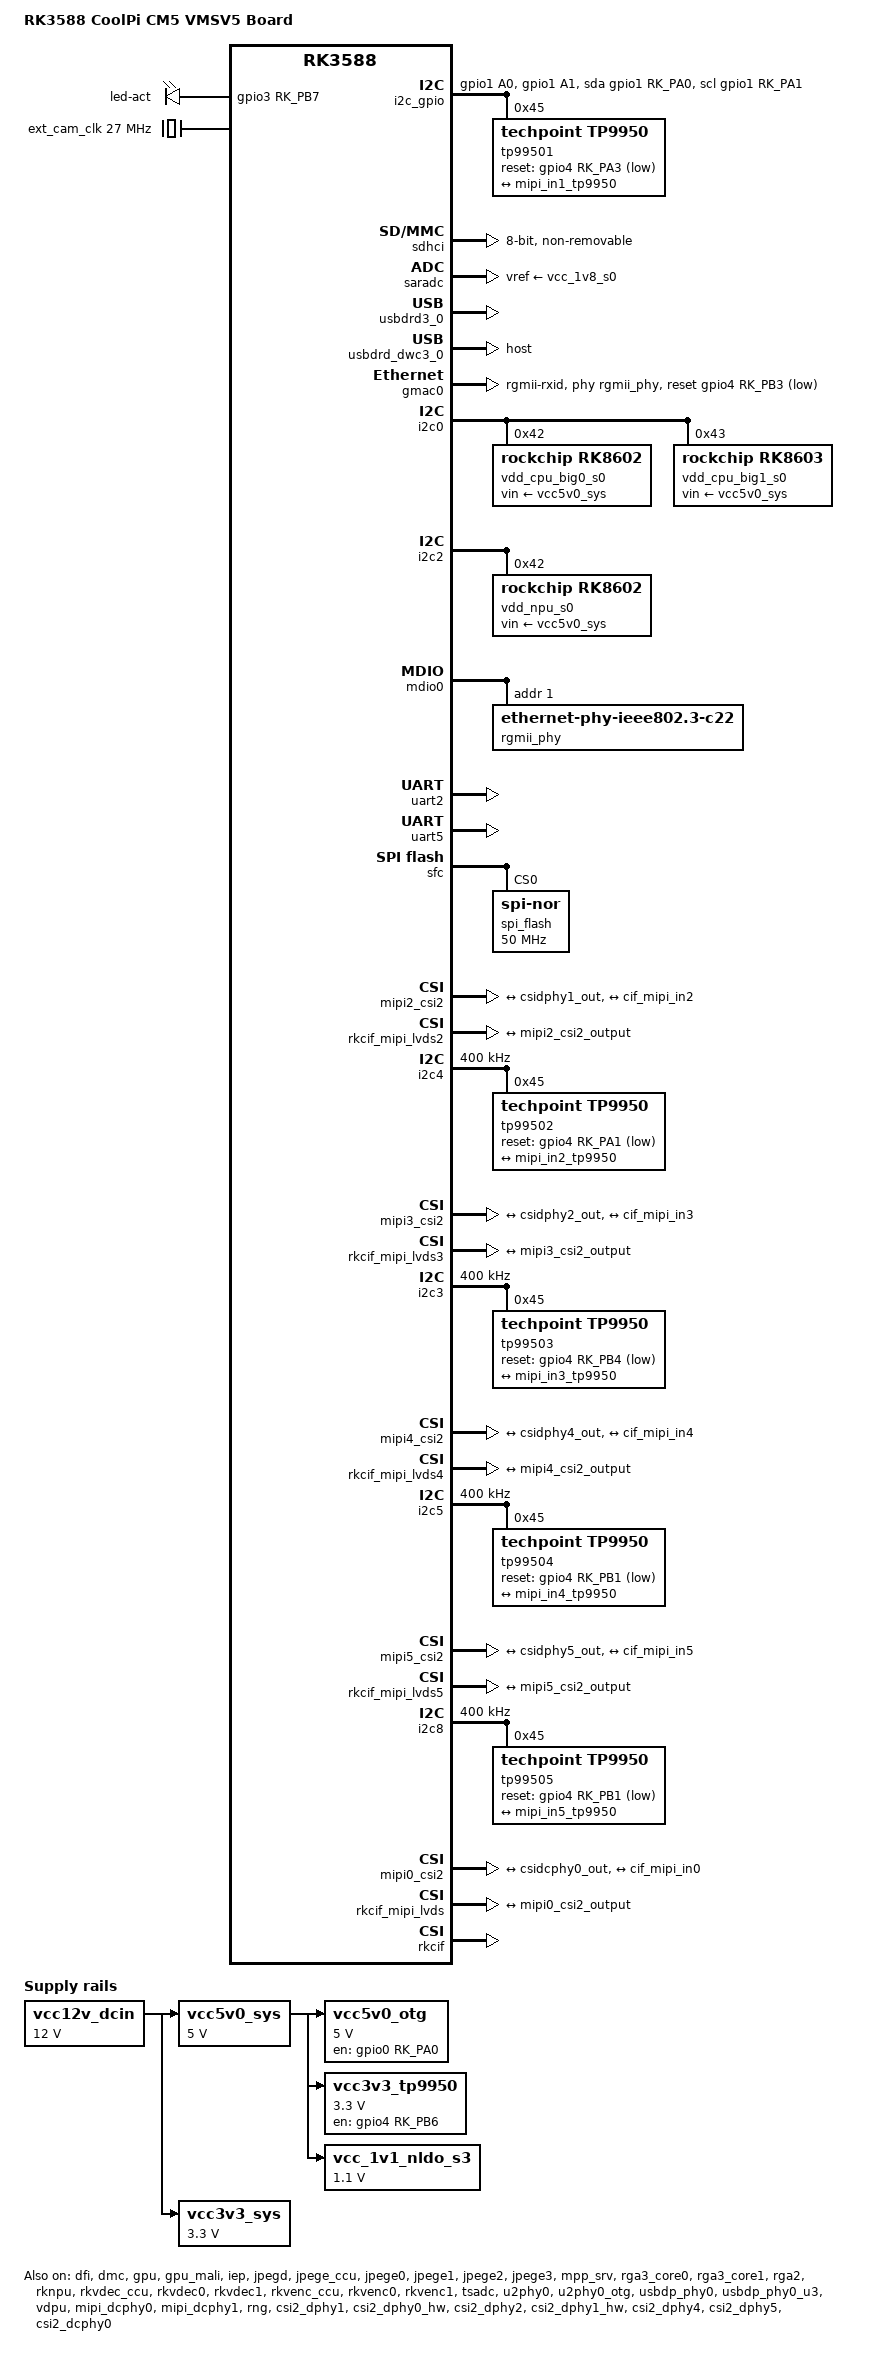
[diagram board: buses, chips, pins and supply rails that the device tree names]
// SPDX-License-Identifier: (GPL-2.0+ OR MIT)
/*
 * Copyright (c) 2021 Rockchip Electronics Co., Ltd.
 *
 */

/dts-v1/;

#include "dt-bindings/usb/pd.h"
#include "rk3588.dtsi"
#include <dt-bindings/gpio/gpio.h>
#include <dt-bindings/pwm/pwm.h>
#include <dt-bindings/pinctrl/rockchip.h>
#include <dt-bindings/input/rk-input.h>
#include <dt-bindings/display/drm_mipi_dsi.h>
#include <dt-bindings/display/rockchip_vop.h>
#include <dt-bindings/sensor-dev.h>
#include "rk3588-rk806-single.dtsi"

/ {
	model = "RK3588 CoolPi CM5 VMSV5 Board";
	compatible = "rockchip,rk3588-core", "rockchip,rk3588";
	
	aliases {
		mmc0 = &sdhci;
		mmc1 = &sdio;
		mmc2 = &sdmmc;
	};

	cspmu: cspmu@fd10c000 {
		compatible = "rockchip,cspmu";
		reg = <0x0 0xfd10c000 0x0 0x1000>,
		      <0x0 0xfd10d000 0x0 0x1000>,
		      <0x0 0xfd10e000 0x0 0x1000>,
		      <0x0 0xfd10f000 0x0 0x1000>,
		      <0x0 0xfd12c000 0x0 0x1000>,
		      <0x0 0xfd12d000 0x0 0x1000>,
		      <0x0 0xfd12e000 0x0 0x1000>,
		      <0x0 0xfd12f000 0x0 0x1000>;
	};

	debug: debug@fd104000 {
		compatible = "rockchip,debug";
		reg = <0x0 0xfd104000 0x0 0x1000>,
		      <0x0 0xfd105000 0x0 0x1000>,
		      <0x0 0xfd106000 0x0 0x1000>,
		      <0x0 0xfd107000 0x0 0x1000>,
		      <0x0 0xfd124000 0x0 0x1000>,
		      <0x0 0xfd125000 0x0 0x1000>,
		      <0x0 0xfd126000 0x0 0x1000>,
		      <0x0 0xfd127000 0x0 0x1000>;
	};

	fiq_debugger: fiq-debugger {
		compatible = "rockchip,fiq-debugger";
		rockchip,serial-id = <9>;
		rockchip,wake-irq = <0>;
		/* If enable uart uses irq instead of fiq */
		rockchip,irq-mode-enable = <1>;
		rockchip,baudrate = <115200>;  /* Only 115200 and 1500000 */
		interrupts = <GIC_SPI 423 IRQ_TYPE_LEVEL_LOW>;
		pinctrl-names = "default";
		pinctrl-0 = <&uart2m0_xfer>;
		status = "disabled";
	};

	ramoops: ramoops@110000 {
		compatible = "ramoops";
		reg = <0x0 0x110000 0x0 0xf0000>;
		record-size = <0x20000>;
		console-size = <0x80000>;
		ftrace-size = <0x00000>;
		pmsg-size = <0x50000>;
	};

	reserved-memory {
		#address-cells = <2>;
		#size-cells = <2>;
		ranges;

		cma {
			compatible = "shared-dma-pool";
			reusable;
			reg = <0x0 (256 * 0x100000) 0x0 (128 * 0x100000)>;
			linux,cma-default;
		};

		drm_logo: drm-logo@0 {
			compatible = "rockchip,drm-logo";
			reg = <0x0 0x0 0x0 0x0>;
		};
		
		drm_cubic_lut: drm-cubic-lut@0 {
			compatible = "rockchip,drm-cubic-lut";
			reg = <0x0 0x0 0x0 0x0>;
		};
	};
	
	vendor_storage_rm: vendor-storage-rm@0 {
		compatible = "rockchip,vendor-storage-rm";
		reg = <0x0 0x0 0x0 0x0>;
	};
	
	vendor_storage: vendor-storage {
		compatible = "rockchip,ram-vendor-storage";
		memory-region = <&vendor_storage_rm>;
		status = "okay";
	};

	leds: leds {
		status = "okay";
		compatible = "gpio-leds";

		led_act: led_act {
            label = "led-act";
			gpios = <&gpio3 RK_PB7 GPIO_ACTIVE_HIGH>;
			linux,default-trigger = "heartbeat";
		};
	};

	vcc12v_dcin: vcc12v-dcin {
		compatible = "regulator-fixed";
		regulator-name = "vcc12v_dcin";
		regulator-always-on;
		regulator-boot-on;
		regulator-min-microvolt = <12000000>;
		regulator-max-microvolt = <12000000>;
	};

	vcc5v0_sys: vcc5v0-sys {
		compatible = "regulator-fixed";
		regulator-name = "vcc5v0_sys";
		regulator-always-on;
		regulator-boot-on;
		regulator-min-microvolt = <5000000>;
		regulator-max-microvolt = <5000000>;
		vin-supply = <&vcc12v_dcin>;
	};

	vcc3v3_sys: vcc3v3-sys {
		compatible = "regulator-fixed";
		regulator-name = "vcc3v3_sys";
		regulator-always-on;
		regulator-boot-on;
		regulator-min-microvolt = <3300000>;
		regulator-max-microvolt = <3300000>;
		vin-supply = <&vcc12v_dcin>;

	};

	vcc5v0_otg: vcc5v0-otg-regulator {
		compatible = "regulator-fixed";
		regulator-name = "vcc5v0_otg";
		regulator-min-microvolt = <5000000>;
		regulator-max-microvolt = <5000000>;
		regulator-boot-on;
		regulator-always-on;
		enable-active-high;
		gpios = <&gpio0 RK_PA0 GPIO_ACTIVE_HIGH>;
		vin-supply = <&vcc5v0_sys>;
		pinctrl-names = "default";
		pinctrl-0 = <&typec5v_pwren>;
	};
	
	vcc3v3_tp9950: vcc3v3-tp9950-regulator {
		compatible = "regulator-fixed";
		regulator-name = "tp9950_pwr";
		regulator-min-microvolt = <3300000>;
		regulator-max-microvolt = <3300000>;
		regulator-boot-on;
		regulator-always-on;
		enable-active-high;
		gpios = <&gpio4 RK_PB6 GPIO_ACTIVE_HIGH>;
		vin-supply = <&vcc5v0_sys>;
		pinctrl-names = "default";
		pinctrl-0 = <&tp9950_pwren>;
	};
	
    vcc_1v1_nldo_s3: vcc-1v1-nldo-s3 {
            compatible = "regulator-fixed";
            regulator-name = "vcc_1v1_nldo_s3";
            regulator-always-on;
            regulator-boot-on;
            regulator-min-microvolt = <1100000>;
            regulator-max-microvolt = <1100000>;
            vin-supply = <&vcc5v0_sys>;
    };
	
	ext_cam_clk: external-camera-clock {
		compatible = "fixed-clock";
		clock-frequency = <27000000>;
		clock-output-names = "CLK_CAMERA_27MHZ";
		#clock-cells = <0>;
	};
	
	i2c_gpio: i2c@100 {
		compatible = "i2c-gpio";
		sda-gpios = <&gpio1 RK_PA0 GPIO_ACTIVE_HIGH>;  // SDA
		scl-gpios = <&gpio1 RK_PA1 GPIO_ACTIVE_HIGH>;  // SCL
		i2c-gpio,delay-us = <2>;    // ~100KHz；<5> 约50K，<1> 200K
		i2c-gpio,timeout-ms = <100>;
		#address-cells = <1>;
		#size-cells = <0>;
		pinctrl-names = "default";
		pinctrl-0 = <&i2c_gpio_pins>;
		status = "okay";
	};
	
};

&cpu_l0 {
	cpu-supply = <&vdd_cpu_lit_s0>;
	mem-supply = <&vdd_cpu_lit_mem_s0>;
};

&cpu_b0 {
	cpu-supply = <&vdd_cpu_big0_s0>;
	mem-supply = <&vdd_cpu_big0_mem_s0>;
};

&cpu_b2 {
	cpu-supply = <&vdd_cpu_big1_s0>;
	mem-supply = <&vdd_cpu_big1_mem_s0>;
};

&dfi {
	status = "okay";
};

&dmc {
	auto-freq-en = <1>;
	status = "okay";
};

&sdhci {
	bus-width = <8>;
	no-sdio;
	no-sd;
	non-removable;
	max-frequency = <200000000>;
	mmc-hs400-1_8v;
	mmc-hs400-enhanced-strobe;
	status = "okay";
};

&gpu {
	mali-supply = <&vdd_gpu_s0>;
	mem-supply = <&vdd_gpu_mem_s0>;
	status = "okay";
};

&gpu_mali {
	mali-supply = <&vdd_gpu_s0>;
	mem-supply = <&vdd_gpu_mem_s0>;
	status = "okay";
};

&iep {
	status = "okay";
};

&iep_mmu {
	status = "okay";
};

&jpegd {
	status = "okay";
};

&jpegd_mmu {
	status = "okay";
};

&jpege_ccu {
	status = "okay";
};

&jpege0 {
	status = "okay";
};

&jpege0_mmu {
	status = "okay";
};

&jpege1 {
	status = "okay";
};

&jpege1_mmu {
	status = "okay";
};

&jpege2 {
	status = "okay";
};

&jpege2_mmu {
	status = "okay";
};

&jpege3 {
	status = "okay";
};

&jpege3_mmu {
	status = "okay";
};

&mpp_srv {
	status = "okay";
};

&rga3_core0 {
	status = "okay";
};

&rga3_0_mmu {
	status = "okay";
};

&rga3_core1 {
	status = "okay";
};

&rga3_1_mmu {
	status = "okay";
};

&rga2 {
	status = "okay";
};

&rknpu {
	rknpu-supply = <&vdd_npu_s0>;
	mem-supply = <&vdd_npu_mem_s0>;
	status = "okay";
};

&rknpu_mmu {
	status = "okay";
};

&rkvdec_ccu {
	status = "okay";
};

&rkvdec0 {
	status = "okay";
};

&rkvdec0_mmu {
	status = "okay";
};

&rkvdec1 {
	status = "okay";
};

&rkvdec1_mmu {
	status = "okay";
};

&rkvenc_ccu {
	status = "okay";
};

&rkvenc0 {
	status = "okay";
};

&rkvenc0_mmu {
	status = "okay";
};

&rkvenc1 {
	status = "okay";
};

&rkvenc1_mmu {
	status = "okay";
};

&rockchip_suspend {
	status = "okay";
	rockchip,sleep-debug-en = <1>;
};

&saradc {
	status = "okay";
	vref-supply = <&vcc_1v8_s0>;
};

&tsadc {
	status = "okay";
};

&u2phy0 {
	status = "okay";
};

&u2phy0_otg {
	vbus-supply = <&vcc5v0_otg>;
	status = "okay";
};

&usbdp_phy0 {

	rockchip,udphy-tune-sequence = <
		0x091c 0x13 0
		0x191c 0x13 0
		0x0c2c 0x0c 0
		0x1c2c 0x0c 0
	>;
        rockchip,dp-lane-mux = < 2 3 >;
        status = "okay";
};

&usbdp_phy0_dp {
        status = "disabled";
};

&usbdp_phy0_u3 {
        status = "okay";
};

&usbdrd3_0 {
        status = "okay";
};

&usbdrd_dwc3_0 {
        dr_mode = "host";
        status = "okay";
};

&vdpu {
	status = "okay";
};

&vdpu_mmu {
	status = "okay";
};

&gmac0 {
	/* Use rgmii-rxid mode to disable rx delay inside Soc */
	phy-mode = "rgmii-rxid";
	clock_in_out = "output";

	snps,reset-gpio = <&gpio4 RK_PB3 GPIO_ACTIVE_LOW>;
	snps,reset-active-low;
	/* Reset time is 20ms, 100ms for rtl8211f */
	snps,reset-delays-us = <0 20000 100000>;

	pinctrl-names = "default";
	pinctrl-0 = <&gmac0_miim
		     &gmac0_tx_bus2
		     &gmac0_rx_bus2
		     &gmac0_rgmii_clk
		     &gmac0_rgmii_bus>;

	tx_delay = <0x44>;
	/* rx_delay = <0x3f>; */

	phy-handle = <&rgmii_phy>;
	status = "okay";
};

&i2c0 {
	status = "okay";
	pinctrl-names = "default";
	pinctrl-0 = <&i2c0m2_xfer>;

	vdd_cpu_big0_s0: vdd_cpu_big0_mem_s0: rk8602@42 {
		compatible = "rockchip,rk8602";
		reg = <0x42>;
		vin-supply = <&vcc5v0_sys>;
		regulator-compatible = "rk860x-reg";
		regulator-name = "vdd_cpu_big0_s0";
		regulator-min-microvolt = <550000>;
		regulator-max-microvolt = <1050000>;
		regulator-ramp-delay = <2300>;
		rockchip,suspend-voltage-selector = <1>;
		regulator-boot-on;
		regulator-always-on;
		regulator-state-mem {
			regulator-off-in-suspend;
		};
	};

	vdd_cpu_big1_s0: vdd_cpu_big1_mem_s0: rk8603@43 {
		compatible = "rockchip,rk8603";
		reg = <0x43>;
		vin-supply = <&vcc5v0_sys>;
		regulator-compatible = "rk860x-reg";
		regulator-name = "vdd_cpu_big1_s0";
		regulator-min-microvolt = <550000>;
		regulator-max-microvolt = <1050000>;
		regulator-ramp-delay = <2300>;
		rockchip,suspend-voltage-selector = <1>;
		regulator-boot-on;
		regulator-always-on;
		regulator-state-mem {
			regulator-off-in-suspend;
		};
	};
};

&i2c2 {
	status = "okay";

	vdd_npu_s0: vdd_npu_mem_s0: rk8602@42 {
		compatible = "rockchip,rk8602";
		reg = <0x42>;
		vin-supply = <&vcc5v0_sys>;
		regulator-compatible = "rk860x-reg";
		regulator-name = "vdd_npu_s0";
		regulator-min-microvolt = <550000>;
		regulator-max-microvolt = <950000>;
		regulator-ramp-delay = <2300>;
		rockchip,suspend-voltage-selector = <1>;
		regulator-boot-on;
		regulator-always-on;
		regulator-state-mem {
			regulator-off-in-suspend;
		};
	};
};

&mdio0 {
	rgmii_phy: phy@1 {
		compatible = "ethernet-phy-ieee802.3-c22";
		reg = <0x1>;
	};
};

&mipi_dcphy0 {
	status = "okay";
};

&mipi_dcphy1 {
	status = "okay";
};

&uart2 {
	status = "okay";
	pinctrl-names = "default";
	pinctrl-0 = <&uart2m0_xfer>;
};

&uart5 {
	status = "okay";
	pinctrl-names = "default";
	pinctrl-0 = <&uart5m0_xfer>;
};

&rng {
	status = "okay";
};

&sfc {
	status = "okay";
	max-freq = <50000000>;
	#address-cells = <1>;
	#size-cells = <0>;
	pinctrl-names = "default";
	pinctrl-0 = <&fspim2_pins>;

	spi_flash: spi-flash@0 {
		#address-cells = <1>;
		#size-cells = <0>;
		compatible = "jedec,spi-nor";
		reg = <0x0>;
		spi-max-frequency = <50000000>;
		spi-tx-bus-width = <1>;
		spi-rx-bus-width = <4>;
		status = "okay";
	};
};

&i2c_gpio {
		compatible = "i2c-gpio";
		status = "okay";
	
	tp99501: tp99501@45 {
        status = "okay";
        compatible = "techpoint,tp9950";
        reg = <0x45>;
        clocks = <&ext_cam_clk>;
        clock-names = "xvclk"; 
		reset-gpios = <&gpio4 RK_PA3 GPIO_ACTIVE_LOW>;
		pinctrl-names = "default";
		pinctrl-0 = <&tp9950_reset1>;
		rockchip,camera-module-index = <0>;
		rockchip,camera-module-facing = "back";
        rockchip,camera-module-name = "HDMI-MIPI2"; 
        rockchip,camera-module-lens-name = "default"; 
        port { 
			tp9950_out1: endpoint { 
				remote-endpoint = <&mipi_in1_tp9950>; 
				data-lanes = <1 2>; 
                        }; 
             }; 
        };
};

&csi2_dphy1 {
	status = "okay";

	ports {
		#address-cells = <1>;
		#size-cells = <0>;
		port@0 {
			reg = <0>;
			#address-cells = <1>;
			#size-cells = <0>;

			mipi_in1_tp9950: endpoint@1 {
				reg = <1>;
				remote-endpoint = <&tp9950_out1>;
				data-lanes = <1 2>;
			};
		};
		port@1 {
			reg = <1>;
			#address-cells = <1>;
			#size-cells = <0>;

			csidphy1_out: endpoint@0 {
				reg = <0>;
				remote-endpoint = <&mipi2_csi2_input>;
			};
		};
	};
};

&csi2_dphy0_hw {
	status = "okay";
};

&mipi2_csi2 {
	status = "okay";

	ports {
		#address-cells = <1>;
		#size-cells = <0>;

		port@0 {
			reg = <0>;
			#address-cells = <1>;
			#size-cells = <0>;

			mipi2_csi2_input: endpoint@1 {
				reg = <1>;
				remote-endpoint = <&csidphy1_out>;
			};
		};

		port@1 {
			reg = <1>;
			#address-cells = <1>;
			#size-cells = <0>;

			mipi2_csi2_output: endpoint@0 {
				reg = <0>;
				remote-endpoint = <&cif_mipi_in2>;
			};
		};
	};
};

&rkcif_mipi_lvds2 {
	status = "okay";

	port {
		cif_mipi_in2: endpoint {
			remote-endpoint = <&mipi2_csi2_output>;
		};
	};
};

&i2c4 {
	clock-frequency = <400000>;
	pinctrl-names = "default";
	pinctrl-0 = <&i2c4m3_xfer>;
	status = "okay";

	tp99502: tp99502@45 {
        status = "okay";
        compatible = "techpoint,tp9950";
        reg = <0x45>;
        clocks = <&ext_cam_clk>;
        clock-names = "xvclk"; 
		reset-gpios = <&gpio4 RK_PA1 GPIO_ACTIVE_LOW>;
		pinctrl-names = "default";
		pinctrl-0 = <&tp9950_reset2>;
		rockchip,camera-module-index = <0>;
		rockchip,camera-module-facing = "back";
        rockchip,camera-module-name = "HDMI-MIPI3"; 
        rockchip,camera-module-lens-name = "default"; 
        port { 
			tp9950_out2: endpoint { 
				remote-endpoint = <&mipi_in2_tp9950>; 
				data-lanes = <1 2>; 
                        }; 
             }; 
        };
};

&csi2_dphy2 {
	status = "okay";

	ports {
		#address-cells = <1>;
		#size-cells = <0>;
		port@0 {
			reg = <0>;
			#address-cells = <1>;
			#size-cells = <0>;

			mipi_in2_tp9950: endpoint@1 {
				reg = <1>;
				remote-endpoint = <&tp9950_out2>;
				data-lanes = <1 2>;
			};
		};
		port@1 {
			reg = <1>;
			#address-cells = <1>;
			#size-cells = <0>;

			csidphy2_out: endpoint@0 {
				reg = <0>;
				remote-endpoint = <&mipi3_csi2_input>;
			};
		};
	};
};

&csi2_dphy1_hw {
	status = "okay";
};

&mipi3_csi2 {
	status = "okay";

	ports {
		#address-cells = <1>;
		#size-cells = <0>;

		port@0 {
			reg = <0>;
			#address-cells = <1>;
			#size-cells = <0>;

			mipi3_csi2_input: endpoint@1 {
				reg = <1>;
				remote-endpoint = <&csidphy2_out>;
			};
		};

		port@1 {
			reg = <1>;
			#address-cells = <1>;
			#size-cells = <0>;

			mipi3_csi2_output: endpoint@0 {
				reg = <0>;
				remote-endpoint = <&cif_mipi_in3>;
			};
		};
	};
};

&rkcif_mipi_lvds3 {
	status = "okay";

	port {
		cif_mipi_in3: endpoint {
			remote-endpoint = <&mipi3_csi2_output>;
		};
	};
};

&i2c3 {
	clock-frequency = <400000>;
	pinctrl-names = "default";
	pinctrl-0 = <&i2c3m2_xfer>;
	status = "okay";

	tp99503: tp99503@45 {
        status = "okay";
        compatible = "techpoint,tp9950";
        reg = <0x45>;
        clocks = <&ext_cam_clk>;
        clock-names = "xvclk"; 
		reset-gpios = <&gpio4 RK_PB4 GPIO_ACTIVE_LOW>;
		pinctrl-names = "default";
		pinctrl-0 = <&tp9950_reset3>;
		rockchip,camera-module-index = <0>;
		rockchip,camera-module-facing = "back";
        rockchip,camera-module-name = "HDMI-MIPI4"; 
        rockchip,camera-module-lens-name = "default"; 
        port { 
			tp9950_out3: endpoint { 
				remote-endpoint = <&mipi_in3_tp9950>; 
				data-lanes = <1 2>; 
                        }; 
             }; 
        };
};

&csi2_dphy4 {
	status = "okay";

	ports {
		#address-cells = <1>;
		#size-cells = <0>;
		port@0 {
			reg = <0>;
			#address-cells = <1>;
			#size-cells = <0>;

			mipi_in3_tp9950: endpoint@1 {
				reg = <1>;
				remote-endpoint = <&tp9950_out3>;
				data-lanes = <1 2>;
			};
		};
		port@1 {
			reg = <1>;
			#address-cells = <1>;
			#size-cells = <0>;

			csidphy4_out: endpoint@0 {
				reg = <0>;
				remote-endpoint = <&mipi4_csi2_input>;
			};
		};
	};
};

&mipi4_csi2 {
	status = "okay";

	ports {
		#address-cells = <1>;
		#size-cells = <0>;

		port@0 {
			reg = <0>;
			#address-cells = <1>;
			#size-cells = <0>;

			mipi4_csi2_input: endpoint@1 {
				reg = <1>;
				remote-endpoint = <&csidphy4_out>;
			};
		};

		port@1 {
			reg = <1>;
			#address-cells = <1>;
			#size-cells = <0>;

			mipi4_csi2_output: endpoint@0 {
				reg = <0>;
				remote-endpoint = <&cif_mipi_in4>;
			};
		};
	};
};

&rkcif_mipi_lvds4 {
	status = "okay";

	port {
		cif_mipi_in4: endpoint {
			remote-endpoint = <&mipi4_csi2_output>;
		};
	};
};

&i2c5 {
	clock-frequency = <400000>;
	pinctrl-names = "default";
	pinctrl-0 = <&i2c5m2_xfer>;
	status = "okay";

	tp99504: tp99504@45 {
        status = "okay";
        compatible = "techpoint,tp9950";
        reg = <0x45>;
        clocks = <&ext_cam_clk>;
        clock-names = "xvclk"; 
		reset-gpios = <&gpio4 RK_PB1 GPIO_ACTIVE_LOW>;
		pinctrl-names = "default";
		pinctrl-0 = <&tp9950_reset4>;
		rockchip,camera-module-index = <0>;
		rockchip,camera-module-facing = "back";
        rockchip,camera-module-name = "HDMI-MIPI5"; 
        rockchip,camera-module-lens-name = "default"; 
        port { 
			tp9950_out4: endpoint { 
				remote-endpoint = <&mipi_in4_tp9950>; 
				data-lanes = <1 2>; 
                        }; 
             }; 
        };
};

&csi2_dphy5 {
	status = "okay";

	ports {
		#address-cells = <1>;
		#size-cells = <0>;
		port@0 {
			reg = <0>;
			#address-cells = <1>;
			#size-cells = <0>;

			mipi_in4_tp9950: endpoint@1 {
				reg = <1>;
				remote-endpoint = <&tp9950_out4>;
				data-lanes = <1 2>;
			};
		};
		port@1 {
			reg = <1>;
			#address-cells = <1>;
			#size-cells = <0>;

			csidphy5_out: endpoint@0 {
				reg = <0>;
				remote-endpoint = <&mipi5_csi2_input>;
			};
		};
	};
};

&mipi5_csi2 {
	status = "okay";

	ports {
		#address-cells = <1>;
		#size-cells = <0>;

		port@0 {
			reg = <0>;
			#address-cells = <1>;
			#size-cells = <0>;

			mipi5_csi2_input: endpoint@1 {
				reg = <1>;
				remote-endpoint = <&csidphy5_out>;
			};
		};

		port@1 {
			reg = <1>;
			#address-cells = <1>;
			#size-cells = <0>;

			mipi5_csi2_output: endpoint@0 {
				reg = <0>;
				remote-endpoint = <&cif_mipi_in5>;
			};
		};
	};
};

&rkcif_mipi_lvds5 {
	status = "okay";

	port {
		cif_mipi_in5: endpoint {
			remote-endpoint = <&mipi5_csi2_output>;
		};
	};
};

&i2c8 {
	clock-frequency = <400000>;
	pinctrl-names = "default";
	pinctrl-0 = <&i2c8m3_xfer>;
	status = "okay";

	tp99505: tp99505@45 {
        status = "okay";
        compatible = "techpoint,tp9950";
        reg = <0x45>;
        clocks = <&ext_cam_clk>;
        clock-names = "xvclk"; 
		reset-gpios = <&gpio4 RK_PB1 GPIO_ACTIVE_LOW>;
		pinctrl-names = "default";
		pinctrl-0 = <&tp9950_reset5>;
		rockchip,camera-module-index = <0>;
		rockchip,camera-module-facing = "back";
        rockchip,camera-module-name = "HDMI-MIPI0"; 
        rockchip,camera-module-lens-name = "default"; 
        port { 
			tp9950_out5: endpoint { 
				remote-endpoint = <&mipi_in5_tp9950>; 
				data-lanes = <1 2>; 
                        }; 
             }; 
        };
};

&csi2_dcphy0 {
	status = "okay";

	ports {
		#address-cells = <1>;
		#size-cells = <0>;
		port@0 {
			reg = <0>;
			#address-cells = <1>;
			#size-cells = <0>;

			mipi_in5_tp9950: endpoint@1 {
				reg = <1>;
				remote-endpoint = <&tp9950_out5>;
				data-lanes = <1 2>;
			};
		};
		port@1 {
			reg = <1>;
			#address-cells = <1>;
			#size-cells = <0>;

			csidcphy0_out: endpoint@0 {
				reg = <0>;
				remote-endpoint = <&mipi0_csi2_input>;
			};
		};
	};
};

&mipi0_csi2 {
	status = "okay";

	ports {
		#address-cells = <1>;
		#size-cells = <0>;

		port@0 {
			reg = <0>;
			#address-cells = <1>;
			#size-cells = <0>;

			mipi0_csi2_input: endpoint@1 {
				reg = <1>;
				remote-endpoint = <&csidcphy0_out>;
			};
		};

		port@1 {
			reg = <1>;
			#address-cells = <1>;
			#size-cells = <0>;

			mipi0_csi2_output: endpoint@0 {
				reg = <0>;
				remote-endpoint = <&cif_mipi_in0>;
			};
		};
	};
};

&rkcif_mipi_lvds {
	status = "okay";

	port {
		cif_mipi_in0: endpoint {
			remote-endpoint = <&mipi0_csi2_output>;
		};
	};
};

&rkcif {
	status = "okay";
};

&rkcif_mmu {
	status = "okay";
};

&pinctrl {
	usb-typec {
		typec5v_pwren: typec5v-pwren {
			rockchip,pins = <0 RK_PA0 RK_FUNC_GPIO &pcfg_pull_up>;
		};
	};
	
	tp9950 {
		tp9950_pwren: tp9950-pwren {
			rockchip,pins = <4 RK_PB6 RK_FUNC_GPIO &pcfg_pull_up>;
		};
		tp9950_reset1: tp9950-reset1 {
			rockchip,pins = <4 RK_PA3 RK_FUNC_GPIO &pcfg_pull_up>;

		};
		tp9950_reset2: tp9950-reset2 {
			rockchip,pins = <4 RK_PA1 RK_FUNC_GPIO &pcfg_pull_up>;

		};
		tp9950_reset3: tp9950-reset3 {
			rockchip,pins = <4 RK_PB4 RK_FUNC_GPIO &pcfg_pull_up>;

		};
		tp9950_reset4: tp9950-reset4 {
			rockchip,pins = <4 RK_PB1 RK_FUNC_GPIO &pcfg_pull_up>;

		};
		tp9950_reset5: tp9950-reset5 {
			rockchip,pins = <4 RK_PB7 RK_FUNC_GPIO &pcfg_pull_up>;

		};
	};
	
	i2c_io {
		i2c_gpio_pins: i2c-gpio-pins{
			rockchip,pins = <1 RK_PA0 RK_FUNC_GPIO &pcfg_pull_up>,
			<1 RK_PA1 RK_FUNC_GPIO &pcfg_pull_up>;
		};
	};
};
